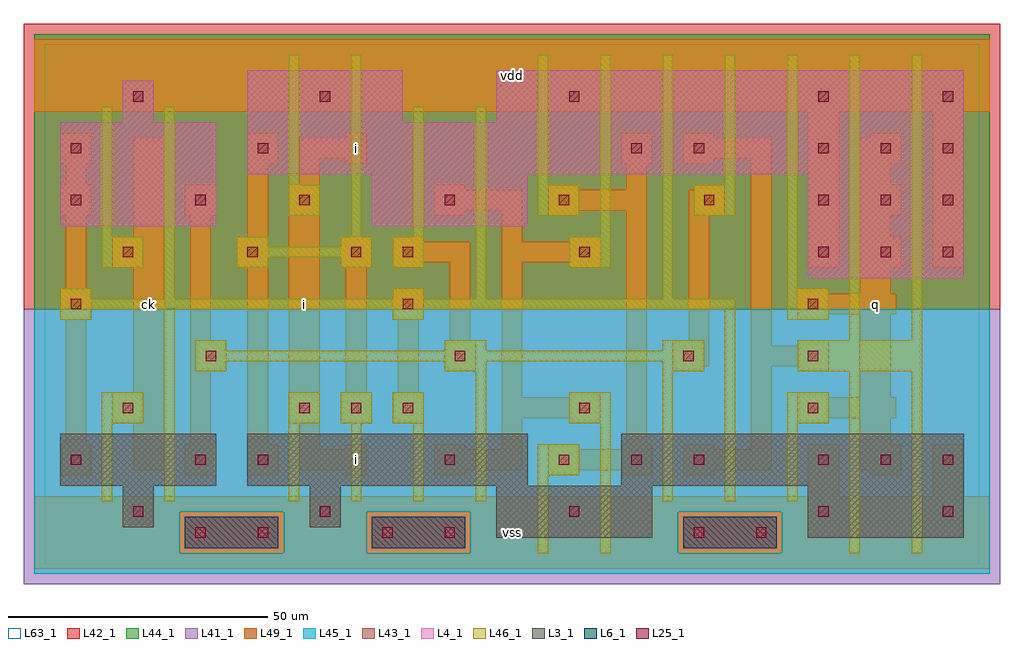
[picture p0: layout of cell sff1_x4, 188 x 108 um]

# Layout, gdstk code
import gdstk
lib = gdstk.Library(unit=1e-6, precision=1e-09)
def R(c, l, rs):  # rectangles x0, y0, x1, y1
    for r in rs: c.add(gdstk.rectangle(r[:2], r[2:], *l))
def A(c, l, x, y, w, h, nx, ny, dx, dy):  # array of equal rectangles
    R(c, l, [(x+i*dx, y+j*dy, x+i*dx+w, y+j*dy+h) for i in range(nx) for j in range(ny)])
L3_1 = (3, 1)
L4_1 = (4, 1)
L6_1 = (6, 1)
L25_1 = (25, 1)
L41_1 = (41, 1)
L42_1 = (42, 1)
L43_1 = (43, 1)
L44_1 = (44, 1)
L45_1 = (45, 1)
L46_1 = (46, 1)
L49_1 = (49, 1)
L63_1 = (63, 1)

sff1_x4 = lib.new_cell('sff1_x4')
R(sff1_x4, L3_1, [(87,5,117,15), (147,5,177,15), (15,7,21,15), (51,7,57,15), (3,15,33,25), (39,15,93,25), (111,15,177,25)])
R(sff1_x4, L4_1, [(147,55,177,75), (3,65,33,85), (63,65,93,75), (39,75,177,85), (15,85,21,93), (39,85,69,95), (87,85,177,95)])
R(sff1_x4, L6_1, [(27,3,45,9), (63,3,81,9), (123,3,141,9)])
A(sff1_x4, L25_1, 53, 9, 2, 2, 3, 2, 48, 80)
A(sff1_x4, L25_1, 149, 19, 2, 2, 3, 2, 12, 40)
A(sff1_x4, L25_1, 49, 29, 2, 2, 3, 1, 10, 0)
A(sff1_x4, L25_1, 147, 29, 2, 2, 1, 3, 0, 10)
A(sff1_x4, L25_1, 149, 69, 2, 2, 3, 2, 12, 10)
R(sff1_x4, L25_1, [(29,5,31,7), (41,5,43,7), (65,5,67,7), (77,5,79,7), (125,5,127,7), (137,5,139,7), (17,9,19,11), (173,9,175,11), (5,19,7,21), (29,19,31,21), (41,19,43,21), (77,19,79,21), (99,19,101,21), (113,19,115,21), (125,19,127,21), (15,29,17,31), (103,29,105,31), (31,39,33,41), (79,39,81,41), (123,39,125,41), (5,49,7,51), (69,49,71,51), (15,59,17,61), (39,59,41,61), (59,59,61,61), (69,59,71,61), (103,59,105,61), (5,69,7,71), (29,69,31,71), (49,69,51,71), (77,69,79,71), (99,69,101,71), (127,69,129,71), (5,79,7,81), (41,79,43,81), (113,79,115,81), (125,79,127,81), (17,89,19,91), (173,89,175,91)])
R(sff1_x4, L41_1, [(-4,-4,184,49)])
R(sff1_x4, L42_1, [(-4,49,184,104)])
R(sff1_x4, L43_1, [(27,3,45,9), (63,3,81,9), (123,3,141,9), (87,5,117,15), (147,5,177,15), (15,7,21,15), (51,7,57,15), (3,15,33,25), (39,15,93,25), (111,15,177,25), (147,55,177,75), (3,65,33,85), (63,65,93,75), (39,75,177,85), (15,85,21,93), (39,85,69,95), (87,85,177,95)])
R(sff1_x4, L44_1, [(26,2,46,10), (62,2,82,10), (122,2,142,10), (-2,49,182,102)])
R(sff1_x4, L45_1, [(-2,-2,182,2), (-2,2,26,10), (46,2,62,10), (82,2,122,10), (142,2,182,10), (-2,10,182,49)])
A(sff1_x4, L46_1, 47, 12, 2, 15, 3, 1, 12, 0)
A(sff1_x4, L46_1, 47, 27, 6, 6, 3, 1, 10, 0)
R(sff1_x4, L46_1, [(95,2,97,17), (107,2,109,27), (155,2,157,37), (167,2,169,37), (11,12,13,27), (23,12,25,49), (83,12,85,37), (119,12,121,37), (131,12,133,49), (143,12,145,27), (95,17,103,23), (11,27,19,33), (101,27,109,33), (143,27,151,33), (29,37,35,39), (77,37,85,39), (119,37,127,39), (145,37,169,43), (29,39,127,41), (29,41,35,43), (77,41,85,43), (119,41,127,43), (155,43,157,98), (167,43,169,98), (3,47,9,49), (67,47,73,49), (143,47,151,53), (3,49,133,51), (3,51,9,53), (23,51,25,88), (67,51,73,53), (83,51,85,88), (119,51,121,98), (143,53,145,98), (11,57,19,63), (37,57,43,59), (57,57,63,59), (67,57,73,63), (101,57,109,63), (37,59,63,61), (37,61,43,63), (57,61,63,63), (11,63,13,88), (59,63,61,98), (71,63,73,88), (107,63,109,98), (47,67,53,73), (95,67,103,73), (125,67,133,73), (47,73,49,98), (95,73,97,98), (131,73,133,98)])
A(sff1_x4, L49_1, 145, 27, 6, 1, 1, 6, 0, 5)
R(sff1_x4, L49_1, [(-2,-1,182,13), (147,13,153,23), (171,13,177,23), (3,17,9,23), (27,17,33,23), (39,17,45,23), (58,17,62,18), (75,17,81,18), (97,17,103,18), (111,17,117,18), (123,17,129,18), (159,17,165,18), (17,18,23,27), (49,18,62,22), (75,18,92,22), (97,18,117,22), (123,18,140,22), (157,18,165,23), (49,22,53,27), (58,22,62,23), (75,22,81,23), (88,22,92,28), (97,22,103,23), (111,22,117,23), (123,22,129,23), (136,22,140,38), (4,23,8,47), (28,23,32,37), (39,23,43,57), (112,23,116,68), (157,23,163,28), (13,27,23,33), (47,27,53,73), (57,27,63,33), (67,27,73,33), (101,27,107,28), (88,28,107,32), (145,28,164,32), (88,32,92,58), (101,32,107,33), (157,32,163,48), (17,33,23,57), (58,33,62,57), (68,33,72,47), (28,37,35,43), (77,37,83,43), (121,37,127,38), (121,38,128,43), (136,38,151,42), (136,42,140,78), (28,43,32,67), (78,43,82,58), (124,43,128,67), (3,47,9,53), (67,47,73,53), (145,48,164,52), (157,52,163,57), (4,53,8,67), (13,57,23,63), (37,57,43,63), (57,57,63,63), (67,57,73,58), (101,57,107,58), (147,57,153,87), (157,57,165,63), (171,57,177,87), (67,58,82,62), (88,58,107,62), (67,62,73,63), (88,62,92,68), (101,62,107,63), (17,63,23,82), (39,63,43,77), (157,63,163,67), (3,67,9,73), (27,67,33,73), (75,67,81,68), (97,67,103,68), (124,67,131,72), (157,67,165,73), (75,68,92,72), (97,68,116,72), (75,72,81,73), (97,72,103,73), (112,72,116,77), (125,72,131,73), (4,73,8,77), (49,73,53,78), (157,73,163,77), (3,77,9,83), (39,77,45,83), (58,77,62,78), (111,77,117,83), (123,77,129,78), (157,77,165,82), (49,78,62,82), (123,78,140,82), (58,82,62,83), (123,82,129,83), (159,82,165,83), (-2,87,182,101)])
R(sff1_x4, L63_1, [(0,0,180,100)])
sff1_x4.add(gdstk.Label('ck', (20,50), layer=49, texttype=1))
sff1_x4.add(gdstk.Label('ck', (20,50), layer=49, texttype=1))
sff1_x4.add(gdstk.Label('i', (60,20), layer=49, texttype=1))
sff1_x4.add(gdstk.Label('i', (60,20), layer=49, texttype=1))
sff1_x4.add(gdstk.Label('i', (50,50), layer=49, texttype=1))
sff1_x4.add(gdstk.Label('i', (50,50), layer=49, texttype=1))
sff1_x4.add(gdstk.Label('i', (60,80), layer=49, texttype=1))
sff1_x4.add(gdstk.Label('i', (60,80), layer=49, texttype=1))
sff1_x4.add(gdstk.Label('vss', (90,6), layer=49, texttype=1))
sff1_x4.add(gdstk.Label('vss', (90,6), layer=49, texttype=1))
sff1_x4.add(gdstk.Label('vdd', (90,94), layer=49, texttype=1))
sff1_x4.add(gdstk.Label('vdd', (90,94), layer=49, texttype=1))
sff1_x4.add(gdstk.Label('q', (160,50), layer=49, texttype=1))
sff1_x4.add(gdstk.Label('q', (160,50), layer=49, texttype=1))

lib.write_gds('sff1_x4.gds')
